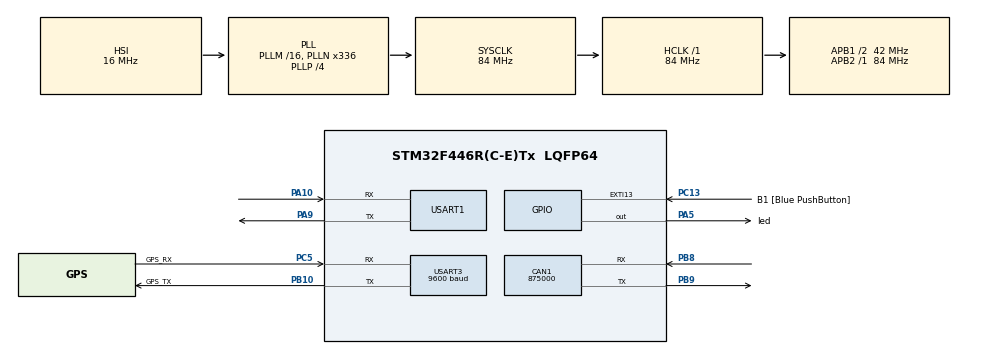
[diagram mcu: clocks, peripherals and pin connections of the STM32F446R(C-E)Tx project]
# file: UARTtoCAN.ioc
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CAN1.CalculateBaudRate=875000
CAN1.CalculateTimeBit=1142
CAN1.CalculateTimeQuantum=380.95238095238096
Dma.Request0=USART1_TX
Dma.USART1_TX.0.Direction=DMA_MEMORY_TO_PERIPH
Dma.USART1_TX.0.FIFOMode=DMA_FIFOMODE_DISABLE
Dma.USART1_TX.0.Instance=DMA2_Stream7
Dma.USART1_TX.0.MemDataAlignment=DMA_MDATAALIGN_BYTE
Dma.USART1_TX.0.MemInc=DMA_MINC_ENABLE
Dma.USART1_TX.0.Mode=DMA_NORMAL
Dma.USART1_TX.0.PeriphDataAlignment=DMA_PDATAALIGN_BYTE
Dma.USART1_TX.0.PeriphInc=DMA_PINC_DISABLE
Dma.USART1_TX.0.Priority=DMA_PRIORITY_LOW
Mcu.Family=STM32F4
Mcu.Name=STM32F446R(C-E)Tx
Mcu.Package=LQFP64
NVIC.CAN1_RX0_IRQn=true\:0\:0\:false\:false\:true\:true\:true\:true
NVIC.CAN1_RX1_IRQn=true\:0\:0\:false\:false\:true\:true\:true\:true
NVIC.DMA2_Stream7_IRQn=true\:0\:0\:false\:false\:true\:false\:true\:true
NVIC.PriorityGroup=NVIC_PRIORITYGROUP_0
NVIC.USART1_IRQn=true\:0\:0\:false\:false\:true\:true\:true\:true
PA10.Mode=Asynchronous
PA10.Signal=USART1_RX
PA5.GPIO_Label=led
PA5.Signal=GPIO_Output
PA9.Mode=Asynchronous
PA9.Signal=USART1_TX
PB10.GPIO_Label=GPS_TX
PB10.Mode=Asynchronous
PB10.Signal=USART3_TX
PB8.Mode=CAN_Activate
PB8.Signal=CAN1_RX
PB9.Mode=CAN_Activate
PB9.Signal=CAN1_TX
PC13.GPIO_Label=B1 [Blue PushButton]
PC13.GPIO_ModeDefaultEXTI=GPIO_MODE_IT_FALLING
PC13.Signal=GPXTI13
PC5.GPIO_Label=GPS_RX
PC5.Mode=Asynchronous
PC5.Signal=USART3_RX
PH0-OSC_IN.Mode=HSE-External-Oscillator
PH0-OSC_IN.Signal=RCC_OSC_IN
PH1-OSC_OUT.Mode=HSE-External-Oscillator
PH1-OSC_OUT.Signal=RCC_OSC_OUT
ProjectManager.HeapSize=0x200
ProjectManager.StackSize=0x400
ProjectManager.TargetToolchain=STM32CubeIDE
RCC.AHBFreq_Value=84000000
RCC.APB1CLKDivider=RCC_HCLK_DIV2
RCC.APB1Freq_Value=42000000
RCC.APB1TimFreq_Value=84000000
RCC.APB2Freq_Value=84000000
RCC.APB2TimFreq_Value=84000000
RCC.CortexFreq_Value=84000000
RCC.FLatency-AdvancedSettings=FLASH_LATENCY_2
RCC.HCLKFreq_Value=84000000
RCC.HSE_VALUE=8000000
RCC.HSI_VALUE=16000000
RCC.LSE_VALUE=32768
RCC.PLLN=336
RCC.PLLP=RCC_PLLP_DIV4
RCC.SYSCLKFreq_VALUE=84000000
RCC.SYSCLKSource=RCC_SYSCLKSOURCE_PLLCLK
RCC.USBFreq_Value=168000000
RCC.VCOOutputFreq_Value=336000000
USART1.VirtualMode=VM_ASYNC
USART3.BaudRate=9600
USART3.VirtualMode=VM_ASYNC
board=NUCLEO-F446RE

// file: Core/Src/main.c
/* USER CODE BEGIN Header */
/**
  ******************************************************************************
  * @file           : main.c
  * @brief          : Main program body
  ******************************************************************************
  * @attention
  *
  * Copyright (c) 2023 STMicroelectronics.
  * All rights reserved.
  *
  * This software is licensed under terms that can be found in the LICENSE file
  * in the root directory of this software component.
  * If no LICENSE file comes with this software, it is provided AS-IS.
  *
  ******************************************************************************
  */
/* USER CODE END Header */
#include "main.h"
#include "can.h"
#include "dma.h"
#include "usart.h"
#include "gpio.h"

/* USER CODE BEGIN Includes */
#include "../../externalSrc/block_4Hz.c"
#include "../../externalSrc/block_10Hz.c"
#include "../../externalSrc/block_100Hz.c"
#include "../../externalSrc/gps.c"
/* USER CODE END Includes */

/* USER CODE BEGIN PD */
/*NB Low First Byte in received data*/
#define PC_WARNING		0x100

#define BUFFER_BLOCK1	0x101
#define BUFFER_BLOCK2	0x102
#define BUFFER_BLOCK3	0x103

#define GPS_BLOCK1		0x104
#define GPS_BLOCK2		0x105
#define GPS_BLOCK3		0x106

#define GYRO_BLOCK1		0x107
#define GYRO_BLOCK2		0x108

#define FWHEEL_BLOCK1	0x109
#define FWHEEL_BLOCK2	0x110

#define RWHEEL_BLOCK1	0x111
#define RWHEEL_BLOCK2	0x112
/* USER CODE END PD */

/* USER CODE BEGIN PV */

//DATA BLOCKS
block_100Hz block100;
block_10Hz block10;
block_4Hz block4;
GPS gps_block;

//CANBUS VARIABLES
CAN_RxHeaderTypeDef receiveHeader;
CAN_TxHeaderTypeDef transmitHeader;
CAN_FilterTypeDef sFilter;
uint8_t can_received_data[8];
uint8_t can_transmit_data[8];
uint32_t mailbox;
uint32_t canTimeout;
uint16_t workingIndex;

//UART VARIABLES
uint8_t payload_100hz[1];
uint8_t payload_10hz[1];
uint8_t payload_4hz[24];

//TO-DEL
uint8_t tempData[8];
uint8_t uart_payload[20];

//TIMING VARIABLES
uint32_t startTime=0;
uint32_t nowTime=0;
uint16_t counter=0;
/* USER CODE END PV */

void SystemClock_Config(void);
/* USER CODE BEGIN PFP */
void filterSettings(void);
void emergency_subroutine(uint8_t condition);
void messageConversion(uint8_t indexTransmitter, uint8_t *convertedMessage, uint8_t *messageToTransmit);
/* USER CODE END PFP */

int main(void)
{

  /* MCU Configuration--------------------------------------------------------*/

  /* Reset of all peripherals, Initializes the Flash interface and the Systick. */
  HAL_Init();

  /* Configure the system clock */
  SystemClock_Config();

  /* Initialize all configured peripherals */
  MX_GPIO_Init();
  MX_DMA_Init();
  MX_CAN1_Init();
  MX_USART1_UART_Init();
  MX_USART3_UART_Init();
  /* USER CODE BEGIN 2 */
  filterSettings();
    HAL_CAN_Start(&hcan1);
    HAL_CAN_ActivateNotification(&hcan1, CAN_IT_RX_FIFO0_MSG_PENDING);
    startTime=HAL_GetTick();

    transmitHeader.DLC=0;
    transmitHeader.IDE=CAN_ID_STD;
    transmitHeader.StdId=PC_WARNING;
    transmitHeader.ExtId=0x00;
    transmitHeader.RTR=CAN_RTR_REMOTE;

    //EMPY BYTES
    block100.decoded_data[34]=0;
    block100.decoded_data[35]=0;
  /* USER CODE END 2 */

  /* Infinite loop */
  while (1)
  {

  }
}

void SystemClock_Config(void)
{
  RCC_OscInitTypeDef RCC_OscInitStruct = {0};
  RCC_ClkInitTypeDef RCC_ClkInitStruct = {0};

  /** Configure the main internal regulator output voltage
  */
  __HAL_RCC_PWR_CLK_ENABLE();
  __HAL_PWR_VOLTAGESCALING_CONFIG(PWR_REGULATOR_VOLTAGE_SCALE3);

  /** Initializes the RCC Oscillators according to the specified parameters
  * in the RCC_OscInitTypeDef structure.
  */
  RCC_OscInitStruct.OscillatorType = RCC_OSCILLATORTYPE_HSI;
  RCC_OscInitStruct.HSIState = RCC_HSI_ON;
  RCC_OscInitStruct.HSICalibrationValue = RCC_HSICALIBRATION_DEFAULT;
  RCC_OscInitStruct.PLL.PLLState = RCC_PLL_ON;
  RCC_OscInitStruct.PLL.PLLSource = RCC_PLLSOURCE_HSI;
  RCC_OscInitStruct.PLL.PLLM = 16;
  RCC_OscInitStruct.PLL.PLLN = 336;
  RCC_OscInitStruct.PLL.PLLP = RCC_PLLP_DIV4;
  RCC_OscInitStruct.PLL.PLLQ = 2;
  RCC_OscInitStruct.PLL.PLLR = 2;
  if (HAL_RCC_OscConfig(&RCC_OscInitStruct) != HAL_OK)
  {
    Error_Handler();
  }

  /** Initializes the CPU, AHB and APB buses clocks
  */
  RCC_ClkInitStruct.ClockType = RCC_CLOCKTYPE_HCLK|RCC_CLOCKTYPE_SYSCLK
                              |RCC_CLOCKTYPE_PCLK1|RCC_CLOCKTYPE_PCLK2;
  RCC_ClkInitStruct.SYSCLKSource = RCC_SYSCLKSOURCE_PLLCLK;
  RCC_ClkInitStruct.AHBCLKDivider = RCC_SYSCLK_DIV1;
  RCC_ClkInitStruct.APB1CLKDivider = RCC_HCLK_DIV2;
  RCC_ClkInitStruct.APB2CLKDivider = RCC_HCLK_DIV1;

  if (HAL_RCC_ClockConfig(&RCC_ClkInitStruct, FLASH_LATENCY_2) != HAL_OK)
  {
    Error_Handler();
  }
}

/* USER CODE BEGIN 4 */
void filterSettings(void){
	sFilter.FilterBank = 0;
	sFilter.FilterFIFOAssignment = CAN_FILTER_FIFO0;
	sFilter.FilterIdHigh = 0;
	sFilter.FilterIdLow = 0;
	sFilter.FilterMaskIdHigh = 0;
	sFilter.FilterMaskIdLow = 0;
	sFilter.FilterMode = CAN_FILTERMODE_IDMASK;
	sFilter.FilterScale = CAN_FILTERSCALE_32BIT;
	sFilter.FilterActivation = ENABLE;
	sFilter.SlaveStartFilterBank = 14;
	HAL_CAN_ConfigFilter(&hcan1, &sFilter);
}

void HAL_CAN_RxFifo0MsgPendingCallback(CAN_HandleTypeDef *hcan){
	HAL_GPIO_WritePin(led_GPIO_Port, led_Pin, GPIO_PIN_SET);
	if(HAL_CAN_GetRxMessage(hcan, CAN_RX_FIFO0, &receiveHeader, can_received_data) != HAL_OK){
			/* ERROR HANDLER */
	}
	else{
		if(receiveHeader.StdId==GPS_BLOCK1 && receiveHeader.IDE==CAN_ID_STD && receiveHeader.RTR==CAN_RTR_REMOTE){
			transmitHeader.StdId=GPS_BLOCK1;
			transmitHeader.DLC=8;

			can_transmit_data[0] = gps_block.hourTime;
			can_transmit_data[1] = gps_block.minTime;
			can_transmit_data[2] = gps_block.secTime;
			can_transmit_data[3] = gps_block.microsecTime&0xFF;
			can_transmit_data[4] = gps_block.microsecTime>>8;
			can_transmit_data[5] = gps_block.info;
			can_transmit_data[6] = gps_block.HDOP1;
			can_transmit_data[7] = gps_block.HDOP2;

			HAL_CAN_AddTxMessage(&hcan1, &transmitHeader, can_transmit_data, &mailbox);
		}
		else if(receiveHeader.StdId==GPS_BLOCK2 && receiveHeader.IDE==CAN_ID_STD && receiveHeader.RTR==CAN_RTR_REMOTE){
			transmitHeader.StdId=GPS_BLOCK2;
			transmitHeader.DLC=8;

			can_transmit_data[0] = gps_block.latitude1&0xFF;
			can_transmit_data[1] = gps_block.latitude1>>8;

			can_transmit_data[2] = gps_block.latitude2&0xFF;
			can_transmit_data[3] = (gps_block.latitude2>>8)&0xFF;
			can_transmit_data[4] = (gps_block.latitude2>>16)&0xFF;
			can_transmit_data[5] = (gps_block.latitude2>>24)&0xFF;

			can_transmit_data[6] = gps_block.vel1;
			can_transmit_data[7] = gps_block.vel2;

			HAL_CAN_AddTxMessage(&hcan1, &transmitHeader, can_transmit_data, &mailbox);
		}
		else if(receiveHeader.StdId==GPS_BLOCK3 && receiveHeader.IDE==CAN_ID_STD && receiveHeader.RTR==CAN_RTR_REMOTE){
			transmitHeader.StdId=GPS_BLOCK3;
			transmitHeader.DLC=8;

			can_transmit_data[0] = gps_block.longitude1&0xFF;
			can_transmit_data[1] = (gps_block.longitude1>>8)&0xFF;
			can_transmit_data[2] = (gps_block.longitude1>>16)&0xFF;
			can_transmit_data[3] = (gps_block.longitude1>>24)&0xFF;

			can_transmit_data[4] = gps_block.longitude2&0xFF;
			can_transmit_data[5] = (gps_block.longitude2>>8)&0xFF;
			can_transmit_data[6] = (gps_block.longitude2>>16)&0xFF;
			can_transmit_data[7] = (gps_block.longitude2>>24)&0xFF;

			HAL_CAN_AddTxMessage(&hcan1, &transmitHeader, can_transmit_data, &mailbox);

			//TO-DO: Send data to Raspberry Pi
		}

		/*100 Hz BLOCK*/
		else if(receiveHeader.StdId==BUFFER_BLOCK1 && receiveHeader.IDE==CAN_ID_STD && receiveHeader.RTR==CAN_RTR_DATA && receiveHeader.DLC==5){
			block100.rpm=can_received_data[1]<<8 | can_received_data[0];
			block100.tps=can_received_data[3]<<8 | can_received_data[2];

			/*DA RIFARE CON CODIFICA NUOVA, DOPO AVER MODIFICATO IL RASPBERRY PI*/
			tempData[0] = 0;
			tempData[1] = 0;
			tempData[2] = can_received_data[0];
			tempData[3] = can_received_data[1];
			tempData[4] = can_received_data[2];
			tempData[5] = can_received_data[3];
			tempData[6] = 0;
			tempData[7] = 0;
			messageConversion(0x31, uart_payload, tempData);
			HAL_UART_Transmit_DMA(&huart1, uart_payload, sizeof(uart_payload));
		}
		else if(receiveHeader.StdId==GYRO_BLOCK1 && receiveHeader.IDE==CAN_ID_STD && receiveHeader.RTR==CAN_RTR_DATA && receiveHeader.DLC==6){
			block100.accelX=can_received_data[1]<<8 | can_received_data[0];
			block100.accelY=can_received_data[3]<<8 | can_received_data[2];
			block100.accelZ=can_received_data[5]<<8 | can_received_data[4];
		}
		else if(receiveHeader.StdId==GYRO_BLOCK2 && receiveHeader.IDE==CAN_ID_STD && receiveHeader.RTR==CAN_RTR_DATA && receiveHeader.DLC==6){
			block100.gyroX=can_received_data[1]<<8 | can_received_data[0];
			block100.gyroY=can_received_data[3]<<8 | can_received_data[2];
			block100.gyroZ=can_received_data[5]<<8 | can_received_data[4];
		}
		else if(receiveHeader.StdId==FWHEEL_BLOCK1 && receiveHeader.IDE==CAN_ID_STD && receiveHeader.RTR==CAN_RTR_DATA && receiveHeader.DLC==4){
			block100.potFSx=can_received_data[0];
			block100.potFDx=can_received_data[1];
			block100.potFOver=can_received_data[2];
			block100.potFAccuracy=can_received_data[3];
		}
		else if(receiveHeader.StdId==FWHEEL_BLOCK2 && receiveHeader.IDE==CAN_ID_STD && receiveHeader.RTR==CAN_RTR_DATA && receiveHeader.DLC==5){
			block100.countFSx=can_received_data[0];
			block100.countFDx=can_received_data[1];
			block100.countFOver=can_received_data[2];
			block100.dtF=can_received_data[3];
			block100.steering_encoder=can_received_data[4];
		}
		else if(receiveHeader.StdId==RWHEEL_BLOCK1 && receiveHeader.IDE==CAN_ID_STD && receiveHeader.RTR==CAN_RTR_DATA && receiveHeader.DLC==4){
			block100.potRSx=can_received_data[0];
			block100.potRDx=can_received_data[1];
			block100.potROver=can_received_data[2];
			block100.potRAccuracy=can_received_data[3];
		}
		else if(receiveHeader.StdId==RWHEEL_BLOCK2 && receiveHeader.IDE==CAN_ID_STD && receiveHeader.RTR==CAN_RTR_DATA && receiveHeader.DLC==5){
			block100.countRSx=can_received_data[0];
			block100.countRDx=can_received_data[1];
			block100.countROver=can_received_data[2];
			block100.dtR=can_received_data[3];
			block100.gear=can_received_data[4];
			//TO-DO: Send to Raspberry Pi (with flag and check)

			/*DA RIFARE CON CODIFICA NUOVA, DOPO AVER MODIFICATO IL RASPBERRY PI*/
			tempData[0] = can_received_data[4];
			tempData[1] = 0;
			tempData[2] = 0;
			tempData[3] = 0;
			tempData[4] = 0;
			tempData[5] = 0;
			tempData[6] = 0;
			tempData[7] = 0;
			messageConversion(0x35, uart_payload, tempData);
			HAL_UART_Transmit_DMA(&huart1, uart_payload, sizeof(uart_payload));
		}

		/*10 Hz BLOCK*/
		else if(receiveHeader.StdId==BUFFER_BLOCK2 && receiveHeader.IDE==CAN_ID_STD && receiveHeader.RTR==CAN_RTR_DATA && receiveHeader.DLC==4){
			block10.t_h2o=can_received_data[0];
			block10.t_air=can_received_data[1];
			block10.t_oil=can_received_data[2];
			block10.vbb=can_received_data[3];
			/*DA RIFARE CON CODIFICA NUOVA, DOPO AVER MODIFICATO IL RASPBERRY PI*/
			tempData[0] = can_received_data[0];
			tempData[1] = can_received_data[1];
			tempData[2] = can_received_data[2];
			tempData[3] = can_received_data[3];
			tempData[4] = can_received_data[3];
			tempData[5] = can_received_data[3];
			tempData[6] = 0;
			tempData[7] = 0;
			messageConversion(0x32, uart_payload, tempData);
			HAL_UART_Transmit_DMA(&huart1, uart_payload, sizeof(uart_payload));
		}
		else if(receiveHeader.StdId==BUFFER_BLOCK3 && receiveHeader.IDE==CAN_ID_STD && receiveHeader.RTR==CAN_RTR_DATA && receiveHeader.DLC==8){
			block10.lambda1_avg=can_received_data[0];
			block10.lambda1_raw=can_received_data[1];
			block10.klambda1=can_received_data[3]<<8 | can_received_data[2];
			block10.injLow=can_received_data[5]<<8 | can_received_data[4];
			block10.injHigh=can_received_data[7]<<8 | can_received_data[6];
			//TO-DO: Send to Raspberry Pi (with flag and check)

			/*DA RIFARE CON CODIFICA NUOVA, DOPO AVER MODIFICATO IL RASPBERRY PI*/
			tempData[0] = can_received_data[0];
			tempData[1] = can_received_data[1];
			tempData[2] = can_received_data[0];
			tempData[3] = can_received_data[1];
			tempData[4] = can_received_data[2];
			tempData[5] = can_received_data[3];
			tempData[6] = can_received_data[2];
			tempData[7] = can_received_data[3];
			messageConversion(0x32, uart_payload, tempData);
			HAL_UART_Transmit_DMA(&huart1, uart_payload, sizeof(uart_payload));
		}
		else{
			/*DO NOTHING*/
		}
	}
}

void emergency_subroutine(uint8_t condition){

	if (condition){
		if(HAL_GetTick()!=nowTime){
			  nowTime=HAL_GetTick();

			  /*100Hz BLOCK*/
			  if((nowTime-startTime)%10==0){
				  workingIndex=BUFFER_BLOCK1;
				  transmitHeader.StdId=workingIndex;
				  if (HAL_CAN_AddTxMessage(&hcan1, &transmitHeader, can_transmit_data, &mailbox) != HAL_OK){
					  //Error Handler
				  }
				  canTimeout=HAL_GetTick();
				  //CHECK RXMESSAGE WITHOUT MESSAGE ON CANBUS
				  while(HAL_CAN_GetRxMessage(&hcan1, CAN_RX_FIFO0, &receiveHeader, can_received_data)!=HAL_OK && HAL_GetTick()-canTimeout<1);
				  if(receiveHeader.StdId==workingIndex && receiveHeader.IDE==CAN_ID_STD && receiveHeader.RTR==CAN_RTR_DATA && HAL_GetTick()-canTimeout<1 && receiveHeader.DLC==5){
					  block100.rpm=can_received_data[1]<<8 | can_received_data[0];
					  block100.tps=can_received_data[3]<<8 | can_received_data[2];
				  }else{
					  block100.rpm=0;
					  block100.tps=0;
				  }

				  workingIndex=GYRO_BLOCK1;
				  transmitHeader.StdId=workingIndex;
				  if (HAL_CAN_AddTxMessage(&hcan1, &transmitHeader, can_transmit_data, &mailbox) != HAL_OK){
					  //Error Handler
				  }
				  canTimeout=HAL_GetTick();
				  while(HAL_CAN_GetRxMessage(&hcan1, CAN_RX_FIFO0, &receiveHeader, can_received_data)!=HAL_OK && HAL_GetTick()-canTimeout<1);
				  if(receiveHeader.StdId==workingIndex && receiveHeader.IDE==CAN_ID_STD && receiveHeader.RTR==CAN_RTR_DATA && HAL_GetTick()-canTimeout<1 && receiveHeader.DLC==6){
					  block100.accelX=can_received_data[1]<<8 | can_received_data[0];
					  block100.accelY=can_received_data[3]<<8 | can_received_data[2];
					  block100.accelZ=can_received_data[5]<<8 | can_received_data[4];
				  }else{
					  block100.accelX=0;
					  block100.accelY=0;
					  block100.accelZ=0;
				  }

				  workingIndex=GYRO_BLOCK2;
				  transmitHeader.StdId=workingIndex;
				  if (HAL_CAN_AddTxMessage(&hcan1, &transmitHeader, can_transmit_data, &mailbox) != HAL_OK){
					  //Error Handler
				  }
				  canTimeout=HAL_GetTick();
				  while(HAL_CAN_GetRxMessage(&hcan1, CAN_RX_FIFO0, &receiveHeader, can_received_data)!=HAL_OK && HAL_GetTick()-canTimeout<1);
				  if(receiveHeader.StdId==workingIndex && receiveHeader.IDE==CAN_ID_STD && receiveHeader.RTR==CAN_RTR_DATA && HAL_GetTick()-canTimeout<1 && receiveHeader.DLC==6){
					  block100.gyroX=can_received_data[1]<<8 | can_received_data[0];
					  block100.gyroY=can_received_data[3]<<8 | can_received_data[2];
					  block100.gyroZ=can_received_data[5]<<8 | can_received_data[4];
				  }else{
					  block100.gyroX=0;
					  block100.gyroY=0;
					  block100.gyroZ=0;
				  }

				  workingIndex=FWHEEL_BLOCK1;
				  transmitHeader.StdId=workingIndex;
				  if (HAL_CAN_AddTxMessage(&hcan1, &transmitHeader, can_transmit_data, &mailbox) != HAL_OK){
					  //Error Handler
				  }
				  canTimeout=HAL_GetTick();
				  while(HAL_CAN_GetRxMessage(&hcan1, CAN_RX_FIFO0, &receiveHeader, can_received_data)!=HAL_OK && HAL_GetTick()-canTimeout<1);
				  if(receiveHeader.StdId==workingIndex && receiveHeader.IDE==CAN_ID_STD && receiveHeader.RTR==CAN_RTR_DATA && HAL_GetTick()-canTimeout<1 && receiveHeader.DLC==4){
					  block100.potFSx=can_received_data[0];
					  block100.potFDx=can_received_data[1];
					  block100.potFOver=can_received_data[2];
					  block100.potFAccuracy=can_received_data[3];
				  }else{
					  block100.potFSx=0;
					  block100.potFDx=0;
					  block100.potFOver=0;
					  block100.potFAccuracy=0;
				  }

				  workingIndex=FWHEEL_BLOCK2;
				  transmitHeader.StdId=workingIndex;
				  if (HAL_CAN_AddTxMessage(&hcan1, &transmitHeader, can_transmit_data, &mailbox) != HAL_OK){
					  //Error Handler
				  }
				  canTimeout=HAL_GetTick();
				  while(HAL_CAN_GetRxMessage(&hcan1, CAN_RX_FIFO0, &receiveHeader, can_received_data)!=HAL_OK && HAL_GetTick()-canTimeout<1);
				  if(receiveHeader.StdId==workingIndex && receiveHeader.IDE==CAN_ID_STD && receiveHeader.RTR==CAN_RTR_DATA && HAL_GetTick()-canTimeout<1 && receiveHeader.DLC==5){
					  block100.countFSx=can_received_data[0];
					  block100.countFDx=can_received_data[1];
					  block100.countFOver=can_received_data[2];
					  block100.dtF=can_received_data[3];
					  block100.steering_encoder=can_received_data[4];
				  }else{
					  block100.countFSx=0;
					  block100.countFDx=0;
					  block100.countFOver=0;
					  block100.dtF=0;
					  block100.steering_encoder=0;
				  }

				  workingIndex=RWHEEL_BLOCK1;
				  transmitHeader.StdId=workingIndex;
				  if (HAL_CAN_AddTxMessage(&hcan1, &transmitHeader, can_transmit_data, &mailbox) != HAL_OK){
					  //Error Handler
				  }
				  canTimeout=HAL_GetTick();
				  while(HAL_CAN_GetRxMessage(&hcan1, CAN_RX_FIFO0, &receiveHeader, can_received_data)!=HAL_OK && HAL_GetTick()-canTimeout<1);
				  if(receiveHeader.StdId==workingIndex && receiveHeader.IDE==CAN_ID_STD && receiveHeader.RTR==CAN_RTR_DATA && HAL_GetTick()-canTimeout<1 && receiveHeader.DLC==4){
					  block100.potRSx=can_received_data[0];
					  block100.potRDx=can_received_data[1];
					  block100.potROver=can_received_data[2];
					  block100.potRAccuracy=can_received_data[3];
				  }else{
					  block100.potRSx=0;
					  block100.potRDx=0;
					  block100.potROver=0;
					  block100.potRAccuracy=0;
				  }

				  workingIndex=RWHEEL_BLOCK2;
				  transmitHeader.StdId=workingIndex;
				  if (HAL_CAN_AddTxMessage(&hcan1, &transmitHeader, can_transmit_data, &mailbox) != HAL_OK){
					  //Error Handler
				  }
				  canTimeout=HAL_GetTick();
				  while(HAL_CAN_GetRxMessage(&hcan1, CAN_RX_FIFO0, &receiveHeader, can_received_data)!=HAL_OK && HAL_GetTick()-canTimeout<1);
				  if(receiveHeader.StdId==workingIndex && receiveHeader.IDE==CAN_ID_STD && receiveHeader.RTR==CAN_RTR_DATA && HAL_GetTick()-canTimeout<1 && receiveHeader.DLC==5){
					  block100.countRSx=can_received_data[0];
					  block100.countRDx=can_received_data[1];
					  block100.countROver=can_received_data[2];
					  block100.dtR=can_received_data[3];
					  block100.gear=can_received_data[4];
				  }else{
					  block100.countRSx=0;
					  block100.countRDx=0;
					  block100.countROver=0;
					  block100.dtR=0;
					  block100.gear=0;
				  }

				  /*10Hz BLOCK*/
				  if(counter%10==0){
					  workingIndex=BUFFER_BLOCK2;
					  transmitHeader.StdId=workingIndex;
					  if (HAL_CAN_AddTxMessage(&hcan1, &transmitHeader, can_transmit_data, &mailbox) != HAL_OK){
						  //Error Handler
					  }
					  canTimeout=HAL_GetTick();
					  while(HAL_CAN_GetRxMessage(&hcan1, CAN_RX_FIFO0, &receiveHeader, can_received_data)!=HAL_OK && HAL_GetTick()-canTimeout<1);
					  if(receiveHeader.StdId==workingIndex && receiveHeader.IDE==CAN_ID_STD && receiveHeader.RTR==CAN_RTR_DATA && HAL_GetTick()-canTimeout<1 && receiveHeader.DLC==4){
						  block10.t_h2o=can_received_data[0];
						  block10.t_air=can_received_data[1];
						  block10.t_oil=can_received_data[2];
						  block10.vbb=can_received_data[3];
					  }else{
						  block10.t_h2o=0;
						  block10.t_air=0;
						  block10.t_oil=0;
						  block10.vbb=0;
					  }

					  workingIndex=BUFFER_BLOCK3;
					  transmitHeader.StdId=workingIndex;
					  if (HAL_CAN_AddTxMessage(&hcan1, &transmitHeader, can_transmit_data, &mailbox) != HAL_OK){
						  //Error Handler
					  }
					  canTimeout=HAL_GetTick();
					  while(HAL_CAN_GetRxMessage(&hcan1, CAN_RX_FIFO0, &receiveHeader, can_received_data)!=HAL_OK && HAL_GetTick()-canTimeout<1);
					  if(receiveHeader.StdId==workingIndex && receiveHeader.IDE==CAN_ID_STD && receiveHeader.RTR==CAN_RTR_DATA && HAL_GetTick()-canTimeout<1 && receiveHeader.DLC==8){
						  block10.lambda1_avg=can_received_data[0];
						  block10.lambda1_raw=can_received_data[1];
						  block10.klambda1=can_received_data[3]<<8 | can_received_data[2];
						  block10.injLow=can_received_data[5]<<8 | can_received_data[4];
						  block10.injHigh=can_received_data[7]<<8 | can_received_data[6];
					  }else{
						  block10.lambda1_avg=0;
						  block10.lambda1_raw=0;
						  block10.klambda1=0;
						  block10.injLow=0;
						  block10.injHigh=0;
					  }

					  //BUILD SEND PACKET
					  setDecodedData10Hz(&block10);
					  codeData10Hz(&block10);

					  //SEND PACKET
					  HAL_UART_DMAResume(&huart3);
					  HAL_UART_Transmit_DMA(&huart3, block10.coded_data, sizeof(block10.coded_data));
				  }/*END BLOCK 10Hz*/

				  /*4Hz BLOCK*/
				  if(counter%25==0){
					  workingIndex=GPS_BLOCK1;
					  transmitHeader.StdId=workingIndex;
					  if (HAL_CAN_AddTxMessage(&hcan1, &transmitHeader, can_transmit_data, &mailbox) != HAL_OK){
						  //Error Handler
					  }
					  canTimeout=HAL_GetTick();
					  while(HAL_CAN_GetRxMessage(&hcan1, CAN_RX_FIFO0, &receiveHeader, can_received_data)!=HAL_OK && HAL_GetTick()-canTimeout<1);
					  if(receiveHeader.StdId==workingIndex && receiveHeader.IDE==CAN_ID_STD && receiveHeader.RTR==CAN_RTR_DATA && HAL_GetTick()-canTimeout<1 && receiveHeader.DLC==8){
						  block4.hour=can_received_data[0];
						  block4.minute=can_received_data[1];
						  block4.second=can_received_data[2];
						  block4.microsecond=can_received_data[4]<<8 | can_received_data[3];
						  block4.info=can_received_data[5];
						  block4.HDOP1=can_received_data[6];
						  block4.HDOP2=can_received_data[7];
					  }else{
						  block4.hour=0;
						  block4.minute=0;
						  block4.second=0;
						  block4.microsecond=0;
						  block4.info=0;
						  block4.HDOP1=0;
						  block4.HDOP2=0;
					  }

					  workingIndex=GPS_BLOCK2;
					  transmitHeader.StdId=workingIndex;
					  if (HAL_CAN_AddTxMessage(&hcan1, &transmitHeader, can_transmit_data, &mailbox) != HAL_OK){
						  //Error Handler
					  }
					  canTimeout=HAL_GetTick();
					  while(HAL_CAN_GetRxMessage(&hcan1, CAN_RX_FIFO0, &receiveHeader, can_received_data)!=HAL_OK && HAL_GetTick()-canTimeout<1);
					  if(receiveHeader.StdId==workingIndex && receiveHeader.IDE==CAN_ID_STD && receiveHeader.RTR==CAN_RTR_DATA && HAL_GetTick()-canTimeout<1 && receiveHeader.DLC==8){
						  block4.Latitude1=can_received_data[1]<<8 | can_received_data[0];
						  block4.Latitude2=can_received_data[5]<<24 | can_received_data[4]<<16 | can_received_data[3]<<8 | can_received_data[2];
						  block4.Vel1=can_received_data[6];
						  block4.Vel2=can_received_data[7];
					  }else{
						  block4.Latitude1=0;
						  block4.Latitude2=0;
						  block4.Vel1=0;
						  block4.Vel2=0;
					  }

					  workingIndex=GPS_BLOCK3;
					  transmitHeader.StdId=workingIndex;
					  if (HAL_CAN_AddTxMessage(&hcan1, &transmitHeader, can_transmit_data, &mailbox) != HAL_OK){
						  //Error Handler
					  }
					  canTimeout=HAL_GetTick();
					  while(HAL_CAN_GetRxMessage(&hcan1, CAN_RX_FIFO0, &receiveHeader, can_received_data)!=HAL_OK && HAL_GetTick()-canTimeout<1);
					  if(receiveHeader.StdId==workingIndex && receiveHeader.IDE==CAN_ID_STD && receiveHeader.RTR==CAN_RTR_DATA && HAL_GetTick()-canTimeout<1 && receiveHeader.DLC==8){
						  block4.Longitude1=can_received_data[3]<<24 | can_received_data[2]<<16 | can_received_data[1]<<8 | can_received_data[0];
						  block4.Longitude2=can_received_data[7]<<24 | can_received_data[6]<<16 | can_received_data[5]<<8 | can_received_data[4];
					  }else{
						  block4.Longitude1=0;
						  block4.Longitude2=0;
					  }

					  //BUILD SEND PACKET
					  setDecodedData4Hz(&block4);
					  codeData4Hz(&block4);

					  //SEND PACKET
					  HAL_UART_DMAResume(&huart3);
					  HAL_UART_Transmit_DMA(&huart3, block4.coded_data, sizeof(block4.coded_data));
				  }/*END BLOCK 4Hz*/

				  //BUILD SEND PACKET
				  setDecodedData100Hz(&block100);
				  codeData100Hz(&block100);

				  //SEND PACKET
				  HAL_UART_DMAResume(&huart3);
				  HAL_UART_Transmit_DMA(&huart3, block100.coded_data, sizeof(block100.coded_data));

				  counter++;
			  }/*END BLOCK 100Hz*/

			  /*Reset once a minute*/
			  if(counter>6000){
				  counter=0;
			  }
			  if(nowTime-startTime>60000){
				  startTime=0;
			  }
		}
	}
}

void messageConversion(uint8_t indexTransmitter, uint8_t *convertedMessage, uint8_t *messageToTransmit){
	*convertedMessage = 0x24;
	*(convertedMessage+19) = 0x10;

	//FIRST NIBBLE INDEX
	*(convertedMessage+1) = ((indexTransmitter >> 4) & 0x0F)  > 0x09 ? ((indexTransmitter >> 4) & 0x0F) + 0x37 : ((indexTransmitter >> 4) & 0x0F) + 0x30;
	//SECOND NIBBLE INDEX
	*(convertedMessage+2) = (indexTransmitter & 0x0F) > 0x09 ? (indexTransmitter & 0x0F) + 0x37 :(indexTransmitter & 0x0F) + 0x30;

	//BUFFER ENCODING
	for (uint8_t i=2; i<10; i++){
		//FIRST NIBBLE CONVERSION
		*(convertedMessage+(2*i)-1) = ((*(messageToTransmit+i-2) >> 4) & 0x0F)  > 0x09 ? ((*(messageToTransmit+i-2) >> 4) & 0x0F) + 0x37 : ((*(messageToTransmit+i-2) >> 4) & 0x0F) + 0x30;
		//SECOND NIBBLE CONVERSION
		*(convertedMessage+(2*i)) = (*(messageToTransmit+i-2) & 0x0F) > 0x09 ? (*(messageToTransmit+i-2) & 0x0F) + 0x37 :(*(messageToTransmit+i-2) & 0x0F) + 0x30;
	}
}

void HAL_UART_TxCpltCallback(UART_HandleTypeDef *huart){
	HAL_UART_DMAStop(&huart1);
}
/* USER CODE END 4 */

void Error_Handler(void)
{
  __disable_irq();
  while (1)
  {
  }
}
